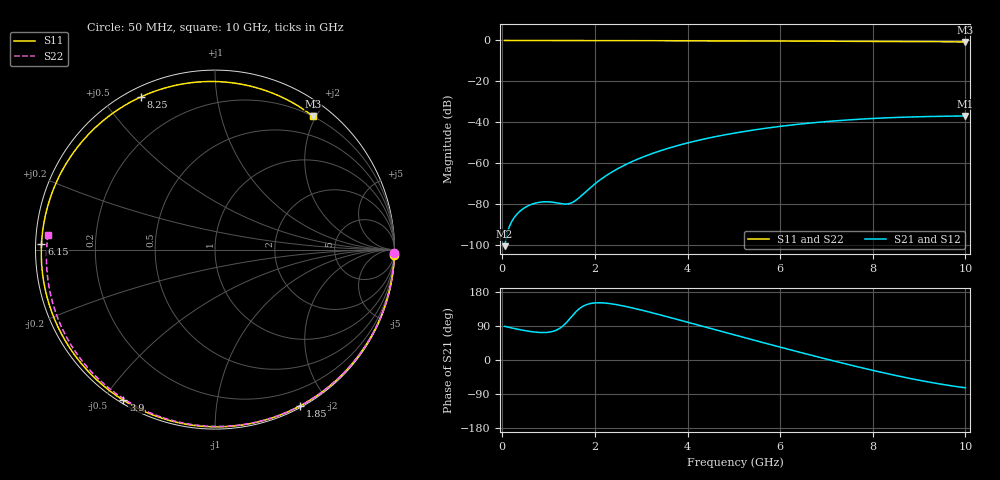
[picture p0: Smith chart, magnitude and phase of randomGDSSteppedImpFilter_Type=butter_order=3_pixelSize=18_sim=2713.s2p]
! freq	dB(S11)	phase(S11)	dB(S12)	phase(S12)
!  dB(S21)	phase(S21)	dB(S22)	phase(S22)
!S-par simulation data
#  GHz  S  DB  R 50
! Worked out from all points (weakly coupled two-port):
!   200 points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, 50 MHz to 10 GHz, reference 50 ohm
!   highest |S21| = -36.88 dB at 10 GHz (marker M1); lowest = -100.5 dB at 50 MHz (marker M2)
!   lowest |S11| = -0.7 dB at 10 GHz (marker M3), VSWR 24.63, Z = 9.9 + j98.1 ohm
!   |S11| at or under -10 dB: nowhere
!   |S22| runs from -0.6 to 0.0 dB; largest |S21 - S12| = 0
!   S11 on the Smith chart (normalised r, x): 50 MHz: 0, -66; 1.85 GHz: 0.02, -1.69; 3.9 GHz: 0.01, -0.56; 6.15 GHz: 0.02, +0.02; 8.25 GHz: 0.04, +0.63; 10 GHz: 0.20, +1.96
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0.05  -0.00 -1.7  -100.47 88.9  -100.47 88.9  -0.00 -1.1
0.7  -0.03 -23.8  -79.54 73.7  -79.54 73.7  -0.02 -14.9
0.95  -0.04 -32.2  -78.79 72.8  -78.79 72.8  -0.03 -20.2
1.4  -0.06 -47.0  -79.86 100.9  -79.86 100.9  -0.04 -29.6
1.55  -0.07 -51.8  -78.67 122.2  -78.67 122.2  -0.04 -32.7
1.75  -0.07 -58.2  -74.95 142.4  -74.95 142.4  -0.05 -36.8
1.85  -0.08 -61.4  -72.91 147.4  -72.91 147.4  -0.05 -38.8
2.15  -0.09 -70.7  -67.47 150.8  -67.47 150.8  -0.06 -44.9
2.5  -0.10 -81.3  -62.54 145.4  -62.54 145.4  -0.07 -51.9
3.4  -0.13 -107.5  -53.97 119.4  -53.97 119.4  -0.09 -69.5
3.9  -0.15 -121.3  -50.64 103.0  -50.64 103.0  -0.11 -78.9
5.05  -0.21 -152.3  -45.10 64.9  -45.10 64.9  -0.15 -99.7
5.6  -0.25 -167.0  -43.16 46.8  -43.16 46.8  -0.18 -109.3
6.15  -0.29 178.2  -41.55 29.1  -41.55 29.1  -0.21 -118.7
6.7  -0.34 162.9  -40.23 11.7  -40.23 11.7  -0.25 -128.0
7.45  -0.40 141.0  -38.84 -11.3  -38.84 -11.3  -0.31 -140.6
8.25  -0.49 115.8  -37.83 -34.3  -37.83 -34.3  -0.38 -154.1
8.35  -0.50 112.5  -37.74 -37.0  -37.74 -37.0  -0.39 -155.8
8.8  -0.55 97.2  -37.38 -48.6  -37.38 -48.6  -0.44 -163.5
9.2  -0.59 83.1  -37.15 -58.0  -37.15 -58.0  -0.49 -170.5
9.6  -0.65 68.5  -36.99 -66.3  -36.99 -66.3  -0.54 -177.6
10  -0.71 53.7  -36.88 -73.3  -36.88 -73.3  -0.59 175.0
